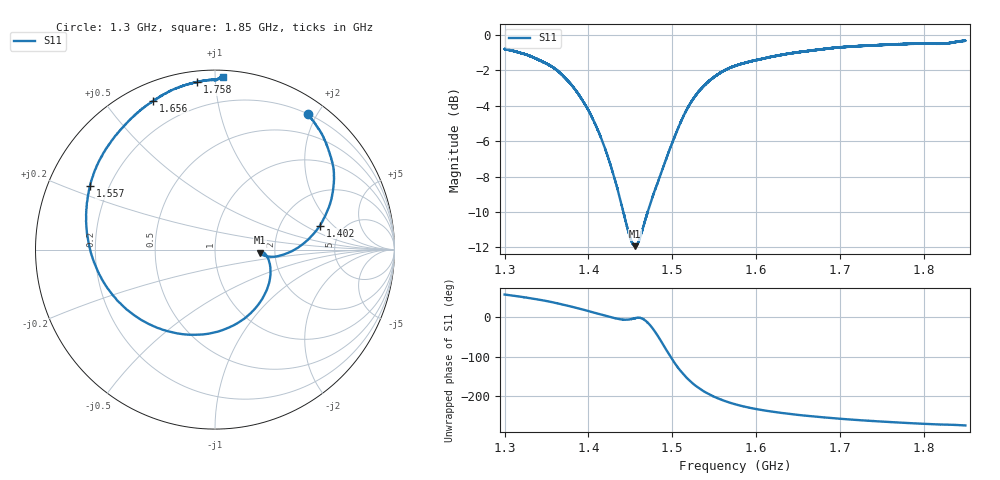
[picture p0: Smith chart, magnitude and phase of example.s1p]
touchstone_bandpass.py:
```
INFILE  = 'example.s1p'
OUTFILE = 'bp_LTE.s1p'

freqs = [(880e6, 960e6), (1710e6, 1880e6)]

LOW_MAG = -15 #dB

output = []
unit_line = ''
with open(INFILE, 'r') as f:
	for line in f:

		if line[0] == '!':
			continue
		if line[0] == '#':
			unit_line = line
			continue

		floats_list = []
		for item in line.split():
  			floats_list.append(float(item))

		ff = floats_list[0]

		phase = 0
		mag   = 0
		for freq in freqs:
			if (ff >= freq[0] and ff <= freq[1]):
				mag = LOW_MAG

		output.append(str(ff) + " " + str(mag) + " " + str(phase) + "\n")

with open(OUTFILE, 'w') as f:
	f.write(unit_line)

	for line in output:
		f.write(line)
```
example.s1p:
!Keysight Technologies,P9371A,MY57212015,Z.14.24.19
!Date: Monday, February 21, 2022 10:51:46
!Correction: S11(C  1-Port  )
!S1P File: Measurement: S11:
# Hz S  dB  R 50
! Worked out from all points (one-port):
!   55001 points, 1.3 GHz to 1.85 GHz, reference 50 ohm
!   lowest |S11| = -11.9 dB at 1.456 GHz (marker M1), VSWR 1.68, Z = 83.7 - j2.91 ohm
!   |S11| at or under -10 dB: 1.442 GHz to 1.471 GHz (29.02 MHz wide, 1.99 % of centre); 1.470713 GHz to 1.470746 GHz (33.34 kHz wide, 0.00227 % of centre); 1.470766 GHz to 1.470786 GHz (19.73 kHz wide, 0.00134 % of centre)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
!   S11 on the Smith chart (normalised r, x): 1.3 GHz: 0.21, +1.88; 1.402 GHz: 3.36, +1.41; 1.557 GHz: 0.13, +0.24; 1.656 GHz: 0.08, +0.67; 1.758 GHz: 0.06, +0.90; 1.85 GHz: 0.04, +1.05
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1.3e9  -0.79 55.5
1.36311e9  -2.02 33.4
1.40209e9  -4.44 12.9
1.45597e9  -11.93 -3.7
1.46868e9  -10.33 -10.9
1.48334e9  -8.26 -49.8
1.50057e9  -6.04 -108.7
1.52103e9  -3.92 -160.8
1.55745e9  -2.14 153.0
1.59587e9  -1.47 130.2
1.65607e9  -0.94 112.5
1.66667e9  -0.88 110.3
1.75836e9  -0.54 96.0
1.85e9  -0.33 87.4
